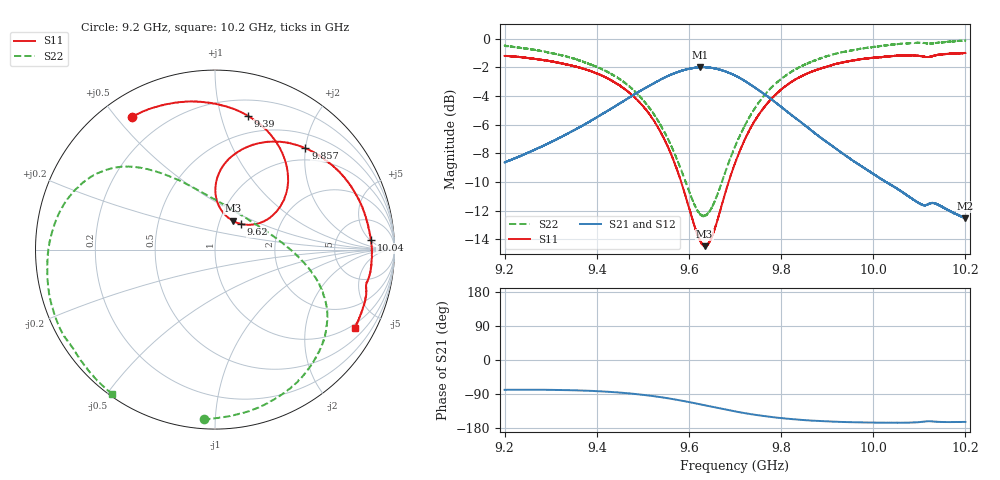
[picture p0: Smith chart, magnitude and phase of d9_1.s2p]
!Agilent Technologies,N5242A,MY51221714,A.09.90.19
!Agilent N5242A: A.09.90.19
!Date: Saturday, March 16, 2024 08:54:05
!Correction: S11(Full 2 Port(1,2))
!S21(Full 2 Port(1,2))
!S12(Full 2 Port(1,2))
!S22(Full 2 Port(1,2))
!S2P File: Measurements: S11, S21, S12, S22:
# Hz S  dB  R 50
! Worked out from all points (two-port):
!   16001 points, 9.2 GHz to 10.2 GHz, reference 50 ohm
!   highest |S21| = -1.97 dB at 9.625 GHz (marker M1); lowest = -12.5 dB at 10.2 GHz (marker M2)
!   |S21| within 3 dB of the highest: 9.426 GHz to 9.808 GHz (382.1 MHz wide, 3.97 % of centre); 9.808928 GHz to 9.809048 GHz (120.1 kHz wide, 0.00122 % of centre)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
!   lowest |S11| = -14.5 dB at 9.634 GHz (marker M3), VSWR 1.46, Z = 57.6 + j19.2 ohm
!   |S11| at or under -10 dB: 9.583 GHz to 9.686 GHz (103.1 MHz wide, 1.07 % of centre)
!   |S22| runs from -12.4 to -0.1 dB; largest |S21 - S12| = 0.0085
!   S11 on the Smith chart (normalised r, x): 9.2 GHz: 0.09, +0.55; 9.39 GHz: 0.33, +1.22; 9.62 GHz: 1.27, +0.38; 9.857 GHz: 0.76, +2.00; 10.04 GHz: 12, +5; 10.2 GHz: 0.85, -3.65
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9.2e9  -1.19 122.2  -8.64 -78.7  -8.62 -79.2  -0.47 -93.8
9.277688e9  -1.45 104.2  -7.56 -78.6  -7.56 -79.0  -0.84 -72.8
9.366688e9  -2.06 82.4  -6.11 -80.6  -6.09 -81.0  -1.55 -49.9
9.389875e9  -2.29 76.3  -5.67 -81.6  -5.66 -82.1  -1.82 -44.1
9.46875e9  -3.72 54.6  -4.14 -88.0  -4.13 -88.4  -3.28 -25.7
9.533375e9  -6.21 37.0  -2.93 -97.1  -2.93 -97.5  -5.73 -9.8
9.580812e9  -9.77 30.0  -2.26 -106.6  -2.26 -107.0  -8.97 8.8
9.620438e9  -13.85 45.0  -1.99 -116.0  -1.99 -116.5  -12.07 43.3
9.624562e9  -14.13 48.8  -1.97 -117.0  -1.98 -117.5  -12.29 48.5
9.634e9  -14.49 58.3  -1.98 -119.4  -1.98 -119.9  -12.38 60.7
9.651812e9  -13.68 76.2  -2.04 -123.9  -2.04 -124.4  -11.67 82.3
9.7e9  -8.70 89.2  -2.56 -135.6  -2.55 -136.1  -7.53 115.9
9.734e9  -6.22 83.1  -3.21 -142.8  -3.19 -143.3  -5.32 126.8
9.779812e9  -4.16 70.4  -4.24 -150.4  -4.24 -151.0  -3.37 137.0
9.856938e9  -2.42 48.2  -6.17 -159.2  -6.18 -159.5  -1.72 152.4
9.866688e9  -2.29 45.6  -6.43 -160.0  -6.43 -160.4  -1.60 154.4
9.950562e9  -1.54 24.0  -8.39 -164.1  -8.40 -164.5  -0.82 172.8
1.003338e10  -1.23 4.8  -10.13 -165.4  -10.12 -165.9  -0.43 -167.6
1.003881e10  -1.20 3.5  -10.22 -165.4  -10.22 -165.9  -0.41 -166.3
1.010556e10  -1.22 -11.0  -11.60 -163.2  -11.58 -163.6  -0.27 -150.2
1.019994e10  -0.99 -29.2  -12.55 -163.5  -12.52 -163.9  -0.12 -125.5
1.02e10  -0.99 -29.2  -12.53 -163.4  -12.51 -163.9  -0.11 -125.5
